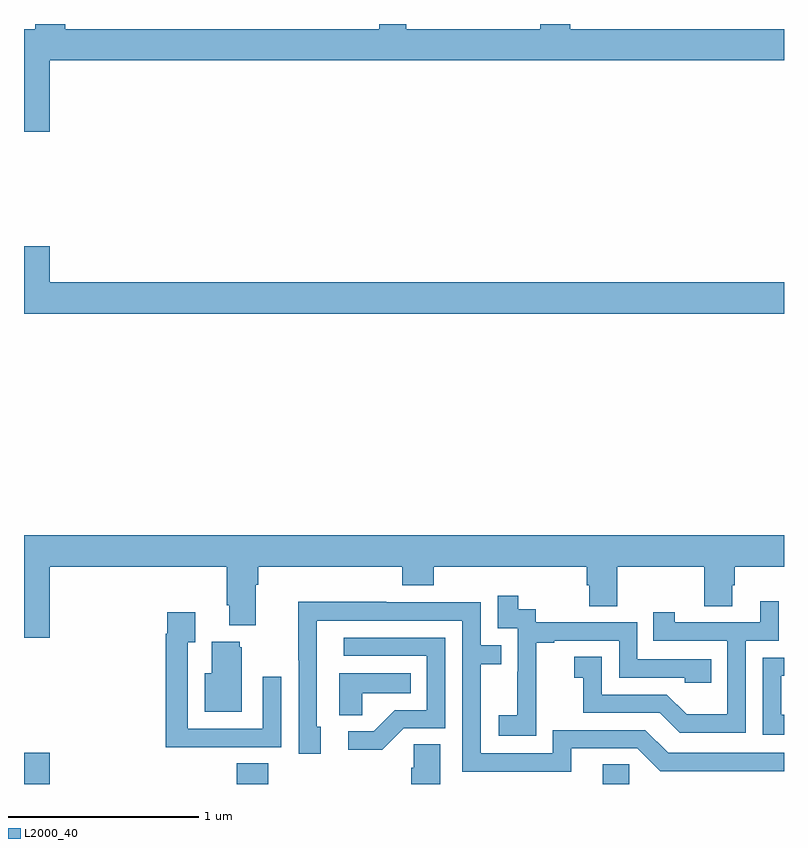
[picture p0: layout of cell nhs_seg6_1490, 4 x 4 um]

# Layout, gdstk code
import gdstk
lib = gdstk.Library(unit=1e-6, precision=1e-09)
def R(c, l, rs):  # rectangles x0, y0, x1, y1
    for r in rs: c.add(gdstk.rectangle(r[:2], r[2:], *l))
def P(c, l, *ps):  # polygons
    for p in ps: c.add(gdstk.Polygon(p, *l))
L2000_40 = (2000, 40)

nhs_seg6_1490 = lib.new_cell('nhs_seg6_1490')
R(nhs_seg6_1490, L2000_40, [(201,971.5,201.136,971.665), (202.121,971.5,202.286,971.609), (204.047,971.5,204.186,971.603)])
P(nhs_seg6_1490, L2000_40, [(201.058,975.472),(201,975.472),(201,974.934),(201.136,974.934),(201.136,975.308),(205,975.308),(205,975.472),(203.876,975.472),(203.876,975.5),(203.716,975.5),(203.716,975.472),(203.011,975.472),(203.011,975.5),(202.871,975.5),(202.871,975.472),(201.218,975.472),(201.218,975.5),(201.058,975.5)],
  [(205,974.14),(201.136,974.14),(201.136,974.329),(201,974.329),(201,973.976),(205,973.976)],
  [(201.136,972.644),(202.067,972.644),(202.067,972.442),(202.079,972.442),(202.079,972.335),(202.219,972.335),(202.219,972.548),(202.232,972.548),(202.232,972.644),(202.991,972.644),(202.991,972.545),(203.156,972.545),(203.156,972.644),(203.963,972.644),(203.963,972.546),(203.975,972.546),(203.975,972.436),(204.123,972.436),(204.123,972.644),(204.58,972.644),(204.58,972.436),(204.727,972.436),(204.727,972.546),(204.74,972.546),(204.74,972.644),(205,972.644),(205,972.808),(201,972.808),(201,972.27),(201.136,972.27)],
  [(203.697,971.959),(203.696,971.959),(203.696,972.243),(203.791,972.243),(203.791,972.255),(204.132,972.255),(204.132,972.06),(204.477,972.06),(204.477,972.033),(204.617,972.033),(204.617,972.156),(204.228,972.156),(204.228,972.351),(203.694,972.351),(203.694,972.42),(203.602,972.42),(203.602,972.49),(203.493,972.49),(203.493,972.321),(203.598,972.321),(203.598,972.092),(203.597,972.092),(203.597,971.863),(203.499,971.863),(203.499,971.753),(203.697,971.753)],
  [(204.798,972.255),(204.972,972.255),(204.972,972.463),(204.875,972.463),(204.875,972.351),(204.424,972.351),(204.424,972.403),(204.313,972.403),(204.313,972.255),(204.702,972.255),(204.702,971.866),(204.488,971.866),(204.384,971.97),(204.042,971.97),(204.042,972.169),(203.895,972.169),(203.895,972.059),(203.944,972.059),(203.944,971.874),(204.347,971.874),(204.452,971.769),(204.798,971.769)],
  [(203.881,971.688),(204.228,971.688),(204.348,971.568),(205,971.568),(205,971.664),(204.39,971.664),(204.27,971.784),(203.784,971.784),(203.784,971.661),(203.403,971.661),(203.403,972.13),(203.513,972.13),(203.513,972.231),(203.403,972.231),(203.403,972.456),(202.907,972.456),(202.907,972.458),(202.444,972.458),(202.444,972.151),(202.446,972.151),(202.446,971.658),(202.561,971.658),(202.561,971.802),(202.542,971.802),(202.542,972.36),(203.307,972.36),(203.307,971.565),(203.881,971.565)],
  [(202.037,971.694),(202.353,971.694),(202.353,972.064),(202.257,972.064),(202.257,971.79),(201.861,971.79),(201.861,972.247),(201.901,972.247),(201.901,972.403),(201.753,972.403),(201.753,972.29),(201.745,972.29),(201.745,971.693),(202.037,971.693)],
  [(202.998,971.793),(203.217,971.793),(203.217,972.27),(202.683,972.27),(202.683,972.174),(203.121,972.174),(203.121,971.889),(202.952,971.889),(202.841,971.778),(202.707,971.778),(202.707,971.681),(202.885,971.681)],
  [(202.147,972.219),(202.136,972.219),(202.136,972.25),(201.989,972.25),(201.989,972.082),(201.95,972.082),(201.95,971.879),(202.147,971.879)],
  [(205,971.865),(204.985,971.865),(204.985,972.069),(205,972.069),(205,972.165),(204.888,972.165),(204.888,971.76),(205,971.76)],
  [(202.779,971.978),(203.036,971.978),(203.036,972.082),(202.658,972.082),(202.658,971.863),(202.779,971.863)],
  [(203.191,971.708),(203.052,971.708),(203.052,971.585),(203.039,971.585),(203.039,971.5),(203.191,971.5)])

lib.write_gds('nhs_seg6_1490.gds')
